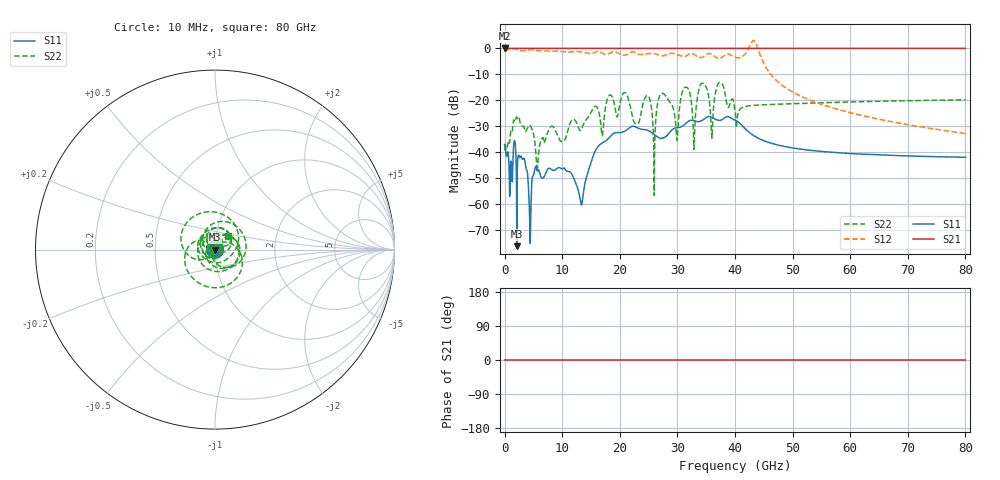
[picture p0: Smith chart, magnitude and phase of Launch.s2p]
! File created by SignalIntegrity v1.1.9: Signal and Power Integrity Tools
! https://github.com/TeledyneLeCroy/SignalIntegrity
# MHz MA S R 50.0
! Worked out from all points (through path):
!   8000 points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, 10 MHz to 80 GHz, reference 50 ohm
!   highest |S21| = 0.00 dB at 10 MHz (marker M1); lowest = 0.0 dB at 10 MHz (marker M2)
!   lowest |S11| = -76.4 dB at 2.12 GHz (marker M3), VSWR 1.00, Z = 50 - j0.00729 ohm
!   |S11| at or under -10 dB: start of sweep to end of sweep
!   |S22| runs from -56.8 to -13.2 dB; largest |S21 - S12| = 2.1
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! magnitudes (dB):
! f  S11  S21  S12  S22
! 10 MHz  -37.1  0.0  -0.2  -39.5
! 2.12 GHz  -76.4  0.0  -0.5  -26.6
! 3.58 GHz  -44.6  0.0  -0.9  -32.2
! 4.42 GHz  -72.1  0.0  -0.5  -29.8
! 5.71 GHz  -47.3  0.0  -0.9  -46.8
! 13.35 GHz  -60.6  0.0  -1.4  -31.2
! 18.73 GHz  -33.2  0.0  -1.4  -18.9
! 22.92 GHz  -30.5  0.0  -1.9  -29.2
! 24.88 GHz  -31.7  0.0  -2.1  -18.2
! 25.97 GHz  -33.3  0.0  -2.0  -53.3
! 26.68 GHz  -34.4  0.0  -2.5  -20.1
! 29.9 GHz  -30.7  0.0  -2.3  -35.1
! 31.62 GHz  -28.7  0.0  -2.8  -15.1
! 32.91 GHz  -28.0  0.0  -2.4  -38.4
! 34.1 GHz  -28.1  0.0  -3.6  -13.7
! 35.98 GHz  -26.7  0.0  -2.3  -34.7
! 37.45 GHz  -27.8  0.0  -3.9  -13.2
! 40.01 GHz  -27.7  0.0  -3.5  -24.0
! 43.32 GHz  -33.8  0.0  3.0  -22.0
! 53.34 GHz  -39.5  0.0  -20.3  -21.1
! 66.67 GHz  -41.3  0.0  -28.1  -20.4
! 80 GHz  -42.1  0.0  -32.9  -19.9
